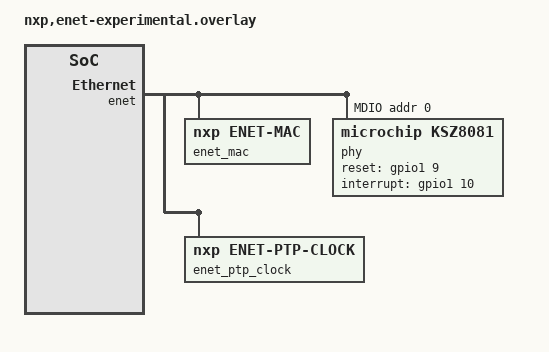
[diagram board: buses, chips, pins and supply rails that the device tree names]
/*
 * Copyright 2023 NXP
 *
 * Experimental ENET binding overlay
 */


/ {
	soc {
		/delete-node/ ethernet@402d8000;

		enet: enet@402d8000 {
			compatible = "nxp,enet";
			reg = <0x402D8000 0x628>;
			clocks = <&ccm IMX_CCM_ENET_CLK 0 0>;
			enet_mac: ethernet {
				compatible = "nxp,enet-mac";
				interrupts = <114 0>;
				interrupt-names = "COMMON";
				nxp,mdio = <&enet_mdio>;
				nxp,ptp-clock = <&enet_ptp_clock>;
				phy-connection-type = "rmii";
				status = "disabled";
			};
			enet_mdio: mdio {
				compatible = "nxp,enet-mdio";
				status = "disabled";
				#address-cells = <1>;
				#size-cells = <0>;
			};
			enet_ptp_clock: ptp_clock {
				compatible = "nxp,enet-ptp-clock";
				interrupts = <115 0>;
				status = "disabled";
				clocks = <&ccm IMX_CCM_ENET_PLL 0 0>;
			};
		};
	};
};

&enet_mac {
	status = "okay";
	pinctrl-0 = <&pinmux_enet>;
	pinctrl-names = "default";
	phy-handle = <&phy>;
};

&enet_mdio {
	status = "okay";
	pinctrl-0 = <&pinmux_enet_mdio>;
	pinctrl-names = "default";
	phy: phy@0 {
		compatible = "microchip,ksz8081";
		reg = <0>;
		status = "okay";
		mc,reset-gpio = <&gpio1 9 GPIO_ACTIVE_HIGH>;
		mc,interrupt-gpio = <&gpio1 10 GPIO_ACTIVE_HIGH>;
		mc,interface-type = "rmii";
	};
};

&enet_ptp_clock {
	status = "okay";
	pinctrl-0 = <&pinmux_ptp>;
	pinctrl-names = "default";
};



&pinctrl {
	/delete-node/ pinmux_ptp;
	/delete-node/ pinmux_enet;

	pinmux_enet: pinmux_enet {
		group0 {
			pinmux = <&iomuxc_gpio_b1_10_enet_ref_clk>;
			bias-disable;
			drive-strength = "r0-6";
			slew-rate = "fast";
			nxp,speed = "50-mhz";
			input-enable;
		};
		group1 {
			pinmux = <&iomuxc_gpio_b1_04_enet_rx_data0>,
				<&iomuxc_gpio_b1_05_enet_rx_data1>,
				<&iomuxc_gpio_b1_06_enet_rx_en>,
				<&iomuxc_gpio_b1_07_enet_tx_data0>,
				<&iomuxc_gpio_b1_08_enet_tx_data1>,
				<&iomuxc_gpio_b1_09_enet_tx_en>,
				<&iomuxc_gpio_b1_11_enet_rx_er>;
			drive-strength = "r0-5";
			bias-pull-up;
			bias-pull-up-value = "100k";
			slew-rate = "fast";
			nxp,speed = "200-mhz";
		};
	};

	pinmux_enet_mdio: pinmux_enet_mdio {
		group0 {
			pinmux = <&iomuxc_gpio_emc_40_enet_mdc>,
				<&iomuxc_gpio_emc_41_enet_mdio>,
				<&iomuxc_gpio_ad_b0_10_gpio1_io10>,
				<&iomuxc_gpio_ad_b0_09_gpio1_io09>;
			drive-strength = "r0-5";
			bias-pull-up;
			bias-pull-up-value = "100k";
			slew-rate = "fast";
			nxp,speed = "200-mhz";
		};
	};

	pinmux_ptp: pinmux_ptp {
		group0 {
			pinmux = <&iomuxc_gpio_ad_b1_02_enet_1588_event2_out>,
				<&iomuxc_gpio_ad_b1_03_enet_1588_event2_in>;
			drive-strength = "r0-6";
			slew-rate = "slow";
			nxp,speed = "100-mhz";
		};
	};
};
